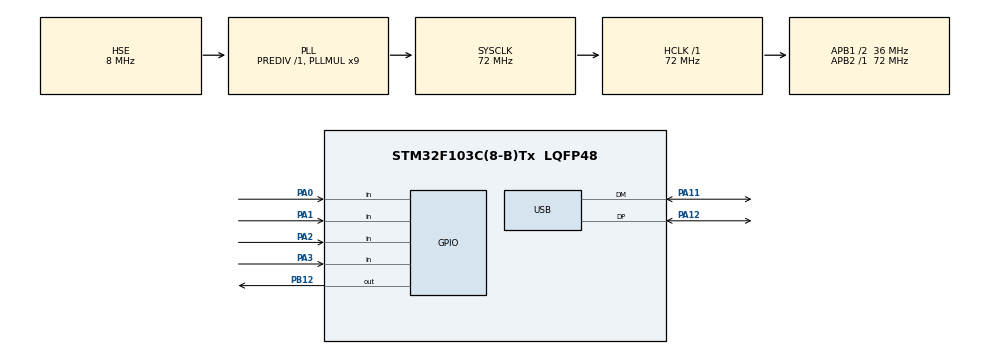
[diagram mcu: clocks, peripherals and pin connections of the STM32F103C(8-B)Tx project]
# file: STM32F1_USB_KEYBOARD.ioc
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Mcu.Family=STM32F1
Mcu.Name=STM32F103C(8-B)Tx
Mcu.Package=LQFP48
NVIC.PriorityGroup=NVIC_PRIORITYGROUP_4
NVIC.USB_LP_CAN1_RX0_IRQn=true\:0\:0\:false\:false\:true\:false\:true\:true
PA0-WKUP.GPIO_PuPd=GPIO_PULLUP
PA0-WKUP.Signal=GPIO_Input
PA1.GPIO_PuPd=GPIO_PULLUP
PA1.Signal=GPIO_Input
PA11.Mode=Device
PA11.Signal=USB_DM
PA12.Mode=Device
PA12.Signal=USB_DP
PA13.Mode=Serial_Wire
PA13.Signal=SYS_JTMS-SWDIO
PA14.Mode=Serial_Wire
PA14.Signal=SYS_JTCK-SWCLK
PA2.GPIO_PuPd=GPIO_PULLUP
PA2.Signal=GPIO_Input
PA3.GPIO_PuPd=GPIO_PULLUP
PA3.Signal=GPIO_Input
PB12.GPIO_ModeDefaultOutputPP=GPIO_MODE_OUTPUT_PP
PB12.GPIO_PuPd=GPIO_PULLUP
PB12.Signal=GPIO_Output
PD0-OSC_IN.Mode=HSE-External-Oscillator
PD0-OSC_IN.Signal=RCC_OSC_IN
PD1-OSC_OUT.Mode=HSE-External-Oscillator
PD1-OSC_OUT.Signal=RCC_OSC_OUT
ProjectManager.HeapSize=0x200
ProjectManager.StackSize=0x400
ProjectManager.TargetToolchain=EWARM V8.32
RCC.AHBFreq_Value=72000000
RCC.APB1CLKDivider=RCC_HCLK_DIV2
RCC.APB1Freq_Value=36000000
RCC.APB1TimFreq_Value=72000000
RCC.APB2Freq_Value=72000000
RCC.APB2TimFreq_Value=72000000
RCC.HCLKFreq_Value=72000000
RCC.PLLMUL=RCC_PLL_MUL9
RCC.PLLSourceVirtual=RCC_PLLSOURCE_HSE
RCC.SYSCLKFreq_VALUE=72000000
RCC.SYSCLKSource=RCC_SYSCLKSOURCE_PLLCLK
RCC.USBFreq_Value=48000000
RCC.USBPrescaler=RCC_USBCLKSOURCE_PLL_DIV1_5
USB_DEVICE.CLASS_NAME_FS=HID
USB_DEVICE.VirtualMode=Hid
USB_DEVICE.VirtualModeFS=Hid_FS
VP_USB_DEVICE_VS_USB_DEVICE_HID_FS.Mode=HID_FS
board=custom

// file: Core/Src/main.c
/* USER CODE BEGIN Header */
/**
  ******************************************************************************
  * @file           : main.c
  * @brief          : Main program body
  ******************************************************************************
  * @attention
  *
  * Copyright (c) 2024 STMicroelectronics.
  * All rights reserved.
  *
  * This software is licensed under terms that can be found in the LICENSE file
  * in the root directory of this software component.
  * If no LICENSE file comes with this software, it is provided AS-IS.
  *
  ******************************************************************************
  */
/* USER CODE END Header */
#include "main.h"
#include "usb_device.h"
#include "gpio.h"

/* USER CODE BEGIN Includes */
#define Key_Port   GPIOA
#define Key1_Pin   GPIO_PIN_1
#define Key2_Pin   GPIO_PIN_2
#define Key3_Pin   GPIO_PIN_3
#define Key4_Pin   GPIO_PIN_4

#define Key1_Input(void)  HAL_GPIO_ReadPin(Key_Port,Key1_Pin)
#define Key2_Input(void)  HAL_GPIO_ReadPin(Key_Port,Key2_Pin)
#define Key3_Input(void)  HAL_GPIO_ReadPin(Key_Port,Key3_Pin)
#define Key4_Input(void)  HAL_GPIO_ReadPin(Key_Port,Key4_Pin)

#define Key_On   GPIO_PIN_SET
#define Key_Off  GPIO_PIN_RESET
/* USER CODE END Includes */

void SystemClock_Config(void);

int main(void)
{

  /* MCU Configuration--------------------------------------------------------*/

  /* Reset of all peripherals, Initializes the Flash interface and the Systick. */
  HAL_Init();

  /* Configure the system clock */
  SystemClock_Config();

  /* Initialize all configured peripherals */
  MX_GPIO_Init();
  MX_USB_DEVICE_Init();

  /* Infinite loop */
  while (1)
  {

    /* USER CODE BEGIN 3 */
      if (Key1_Input()==Key_Off)
    {
      Mod(0,-10);
    }
    if (Key2_Input()==Key_Off)
    {
      Mod(0,10);
    }
    if (Key3_Input()==Key_Off)
    {
      Mod(-10,0);
    }
    if (Key4_Input()==Key_Off)
    {
      Mod(10,0);
    }
    Mod(0,0);
  }
  /* USER CODE END 3 */
}

void SystemClock_Config(void)
{
  RCC_OscInitTypeDef RCC_OscInitStruct = {0};
  RCC_ClkInitTypeDef RCC_ClkInitStruct = {0};
  RCC_PeriphCLKInitTypeDef PeriphClkInit = {0};

  /** Initializes the RCC Oscillators according to the specified parameters
  * in the RCC_OscInitTypeDef structure.
  */
  RCC_OscInitStruct.OscillatorType = RCC_OSCILLATORTYPE_HSE;
  RCC_OscInitStruct.HSEState = RCC_HSE_ON;
  RCC_OscInitStruct.HSEPredivValue = RCC_HSE_PREDIV_DIV1;
  RCC_OscInitStruct.HSIState = RCC_HSI_ON;
  RCC_OscInitStruct.PLL.PLLState = RCC_PLL_ON;
  RCC_OscInitStruct.PLL.PLLSource = RCC_PLLSOURCE_HSE;
  RCC_OscInitStruct.PLL.PLLMUL = RCC_PLL_MUL9;
  if (HAL_RCC_OscConfig(&RCC_OscInitStruct) != HAL_OK)
  {
    Error_Handler();
  }

  /** Initializes the CPU, AHB and APB buses clocks
  */
  RCC_ClkInitStruct.ClockType = RCC_CLOCKTYPE_HCLK|RCC_CLOCKTYPE_SYSCLK
                              |RCC_CLOCKTYPE_PCLK1|RCC_CLOCKTYPE_PCLK2;
  RCC_ClkInitStruct.SYSCLKSource = RCC_SYSCLKSOURCE_PLLCLK;
  RCC_ClkInitStruct.AHBCLKDivider = RCC_SYSCLK_DIV1;
  RCC_ClkInitStruct.APB1CLKDivider = RCC_HCLK_DIV2;
  RCC_ClkInitStruct.APB2CLKDivider = RCC_HCLK_DIV1;

  if (HAL_RCC_ClockConfig(&RCC_ClkInitStruct, FLASH_LATENCY_2) != HAL_OK)
  {
    Error_Handler();
  }
  PeriphClkInit.PeriphClockSelection = RCC_PERIPHCLK_USB;
  PeriphClkInit.UsbClockSelection = RCC_USBCLKSOURCE_PLL_DIV1_5;
  if (HAL_RCCEx_PeriphCLKConfig(&PeriphClkInit) != HAL_OK)
  {
    Error_Handler();
  }
}

void Error_Handler(void)
{
  __disable_irq();
  while (1)
  {
  }
}
